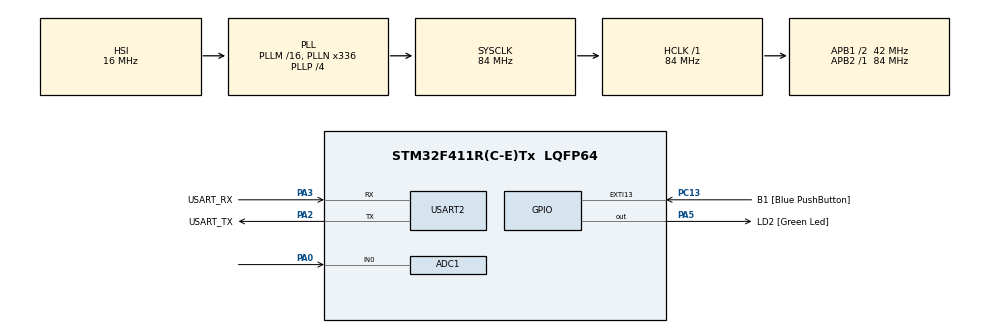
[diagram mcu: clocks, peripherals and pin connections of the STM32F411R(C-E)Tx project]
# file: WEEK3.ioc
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ADC1.Channel-0\#ChannelRegularConversion=ADC_CHANNEL_TEMPSENSOR
ADC1.NbrOfConversionFlag=1
ADC1.Rank-0\#ChannelRegularConversion=1
ADC1.SamplingTime-0\#ChannelRegularConversion=ADC_SAMPLETIME_3CYCLES
ADC1.master=1
Mcu.Family=STM32F4
Mcu.Name=STM32F411R(C-E)Tx
Mcu.Package=LQFP64
NVIC.PriorityGroup=NVIC_PRIORITYGROUP_0
PA0-WKUP.Signal=ADCx_IN0
PA13.GPIO_Label=TMS
PA13.Mode=Serial_Wire
PA13.Signal=SYS_JTMS-SWDIO
PA14.GPIO_Label=TCK
PA14.Mode=Serial_Wire
PA14.Signal=SYS_JTCK-SWCLK
PA2.GPIO_Label=USART_TX
PA2.Mode=Asynchronous
PA2.Signal=USART2_TX
PA3.GPIO_Label=USART_RX
PA3.Mode=Asynchronous
PA3.Signal=USART2_RX
PA5.GPIO_Label=LD2 [Green Led]
PA5.Signal=GPIO_Output
PB3.GPIO_Label=SWO
PB3.Signal=SYS_JTDO-SWO
PC13-ANTI_TAMP.GPIO_Label=B1 [Blue PushButton]
PC13-ANTI_TAMP.GPIO_ModeDefaultEXTI=GPIO_MODE_IT_FALLING
PC13-ANTI_TAMP.Signal=GPXTI13
PC14-OSC32_IN.Mode=LSE-External-Oscillator
PC14-OSC32_IN.Signal=RCC_OSC32_IN
PC15-OSC32_OUT.Mode=LSE-External-Oscillator
PC15-OSC32_OUT.Signal=RCC_OSC32_OUT
PH0\ -\ OSC_IN.Mode=HSE-External-Clock-Source
PH0\ -\ OSC_IN.Signal=RCC_OSC_IN
PH1\ -\ OSC_OUT.Mode=HSE-External-Clock-Source
PH1\ -\ OSC_OUT.Signal=RCC_OSC_OUT
ProjectManager.HeapSize=0x200
ProjectManager.StackSize=0x400
ProjectManager.TargetToolchain=STM32CubeIDE
RCC.48MHZClocksFreq_Value=84000000
RCC.AHBFreq_Value=84000000
RCC.APB1CLKDivider=RCC_HCLK_DIV2
RCC.APB1Freq_Value=42000000
RCC.APB1TimFreq_Value=84000000
RCC.APB2Freq_Value=84000000
RCC.APB2TimFreq_Value=84000000
RCC.CortexFreq_Value=84000000
RCC.FLatency-AdvancedSettings=FLASH_LATENCY_2
RCC.HCLKFreq_Value=84000000
RCC.HSE_VALUE=8000000
RCC.HSI_VALUE=16000000
RCC.PLLN=336
RCC.PLLP=RCC_PLLP_DIV4
RCC.SYSCLKFreq_VALUE=84000000
RCC.SYSCLKSource=RCC_SYSCLKSOURCE_PLLCLK
RCC.VCOOutputFreq_Value=336000000
SH.ADCx_IN0.0=ADC1_IN0,IN0
USART2.VirtualMode=VM_ASYNC
VP_ADC1_TempSens_Input.Mode=IN-TempSens
board=NUCLEO-F411RE

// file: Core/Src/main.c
/* USER CODE BEGIN Header */
/**
 ******************************************************************************
 * @file           : main.c
 * @brief          : Main program body
 ******************************************************************************
 * @attention
 *
 * <h2><center>&copy; Copyright (c) 2021 STMicroelectronics.
 * All rights reserved.</center></h2>
 *
 * This software component is licensed by ST under BSD 3-Clause license,
 * the "License"; You may not use this file except in compliance with the
 * License. You may obtain a copy of the License at:
 *                        opensource.org/licenses/BSD-3-Clause
 *
 ******************************************************************************
 */
/* USER CODE END Header */
#include "main.h"

ADC_HandleTypeDef hadc1;

UART_HandleTypeDef huart2;

/* USER CODE BEGIN PV */

typedef struct {
	ADC_ChannelConfTypeDef Config;
	uint16_t data;
} ADCStructure;

ADCStructure ADCChannel[2] = { 0 };
int ADCMode = 0;
float ADCOutputConverted = 0;

/* USER CODE END PV */

void SystemClock_Config(void);
static void MX_GPIO_Init(void);
static void MX_USART2_UART_Init(void);
static void MX_ADC1_Init(void);
/* USER CODE BEGIN PFP */
void ADCPollingMethodInit();
void ADCPollingMethodUpdate();
/* USER CODE END PFP */

int main(void) {

	/* MCU Configuration--------------------------------------------------------*/

	/* Reset of all peripherals, Initializes the Flash interface and the Systick. */
	HAL_Init();

	/* Configure the system clock */
	SystemClock_Config();

	/* Initialize all configured peripherals */
	MX_GPIO_Init();
	MX_USART2_UART_Init();
	MX_ADC1_Init();
	/* USER CODE BEGIN 2 */
	uint8_t Button_Press[2] = {0};
	ADCPollingMethodInit();

	/* USER CODE END 2 */

	/* Infinite loop */
	/* USER CODE BEGIN WHILE */
	while (1) {
		Button_Press[0] = HAL_GPIO_ReadPin(GPIOC, GPIO_PIN_13);
		if(Button_Press[1] == GPIO_PIN_SET && Button_Press[0] == GPIO_PIN_RESET)
		{
			if(ADCMode == 0)
			{
				ADCMode = 1;
			}
			else
			{
				ADCMode = 0;
			}
		}
		if(ADCMode == 0)
		{
			ADCOutputConverted = ADCChannel[0].data*3300/4096;
		}
		else
		{
			ADCOutputConverted = (((ADCChannel[1].data*3300/4096)-760)/2.5) + 25;
		}
		Button_Press[1] = Button_Press[0];
		/* USER CODE END WHILE */

		/* USER CODE BEGIN 3 */

		ADCPollingMethodUpdate();

	}
	/* USER CODE END 3 */
}

void SystemClock_Config(void) {
	RCC_OscInitTypeDef RCC_OscInitStruct = { 0 };
	RCC_ClkInitTypeDef RCC_ClkInitStruct = { 0 };

	/** Configure the main internal regulator output voltage
	 */
	__HAL_RCC_PWR_CLK_ENABLE();
	__HAL_PWR_VOLTAGESCALING_CONFIG(PWR_REGULATOR_VOLTAGE_SCALE1);
	/** Initializes the RCC Oscillators according to the specified parameters
	 * in the RCC_OscInitTypeDef structure.
	 */
	RCC_OscInitStruct.OscillatorType = RCC_OSCILLATORTYPE_HSI;
	RCC_OscInitStruct.HSIState = RCC_HSI_ON;
	RCC_OscInitStruct.HSICalibrationValue = RCC_HSICALIBRATION_DEFAULT;
	RCC_OscInitStruct.PLL.PLLState = RCC_PLL_ON;
	RCC_OscInitStruct.PLL.PLLSource = RCC_PLLSOURCE_HSI;
	RCC_OscInitStruct.PLL.PLLM = 16;
	RCC_OscInitStruct.PLL.PLLN = 336;
	RCC_OscInitStruct.PLL.PLLP = RCC_PLLP_DIV4;
	RCC_OscInitStruct.PLL.PLLQ = 4;
	if (HAL_RCC_OscConfig(&RCC_OscInitStruct) != HAL_OK) {
		Error_Handler();
	}
	/** Initializes the CPU, AHB and APB buses clocks
	 */
	RCC_ClkInitStruct.ClockType = RCC_CLOCKTYPE_HCLK | RCC_CLOCKTYPE_SYSCLK
			| RCC_CLOCKTYPE_PCLK1 | RCC_CLOCKTYPE_PCLK2;
	RCC_ClkInitStruct.SYSCLKSource = RCC_SYSCLKSOURCE_PLLCLK;
	RCC_ClkInitStruct.AHBCLKDivider = RCC_SYSCLK_DIV1;
	RCC_ClkInitStruct.APB1CLKDivider = RCC_HCLK_DIV2;
	RCC_ClkInitStruct.APB2CLKDivider = RCC_HCLK_DIV1;

	if (HAL_RCC_ClockConfig(&RCC_ClkInitStruct, FLASH_LATENCY_2) != HAL_OK) {
		Error_Handler();
	}
}

static void MX_ADC1_Init(void) {

	ADC_ChannelConfTypeDef sConfig = { 0 };

	/** Configure the global features of the ADC (Clock, Resolution, Data Alignment and number of conversion)
	 */
	hadc1.Instance = ADC1;
	hadc1.Init.ClockPrescaler = ADC_CLOCK_SYNC_PCLK_DIV4;
	hadc1.Init.Resolution = ADC_RESOLUTION_12B;
	hadc1.Init.ScanConvMode = DISABLE;
	hadc1.Init.ContinuousConvMode = DISABLE;
	hadc1.Init.DiscontinuousConvMode = DISABLE;
	hadc1.Init.ExternalTrigConvEdge = ADC_EXTERNALTRIGCONVEDGE_NONE;
	hadc1.Init.ExternalTrigConv = ADC_SOFTWARE_START;
	hadc1.Init.DataAlign = ADC_DATAALIGN_RIGHT;
	hadc1.Init.NbrOfConversion = 1;
	hadc1.Init.DMAContinuousRequests = DISABLE;
	hadc1.Init.EOCSelection = ADC_EOC_SINGLE_CONV;
	if (HAL_ADC_Init(&hadc1) != HAL_OK) {
		Error_Handler();
	}
	/** Configure for the selected ADC regular channel its corresponding rank in the sequencer and its sample time.
	 */
	sConfig.Channel = ADC_CHANNEL_0;
	sConfig.Rank = 1;
	sConfig.SamplingTime = ADC_SAMPLETIME_3CYCLES;
	if (HAL_ADC_ConfigChannel(&hadc1, &sConfig) != HAL_OK) {
		Error_Handler();
	}

}

static void MX_USART2_UART_Init(void) {

	huart2.Instance = USART2;
	huart2.Init.BaudRate = 115200;
	huart2.Init.WordLength = UART_WORDLENGTH_8B;
	huart2.Init.StopBits = UART_STOPBITS_1;
	huart2.Init.Parity = UART_PARITY_NONE;
	huart2.Init.Mode = UART_MODE_TX_RX;
	huart2.Init.HwFlowCtl = UART_HWCONTROL_NONE;
	huart2.Init.OverSampling = UART_OVERSAMPLING_16;
	if (HAL_UART_Init(&huart2) != HAL_OK) {
		Error_Handler();
	}

}

static void MX_GPIO_Init(void) {
	GPIO_InitTypeDef GPIO_InitStruct = { 0 };

	/* GPIO Ports Clock Enable */
	__HAL_RCC_GPIOC_CLK_ENABLE();
	__HAL_RCC_GPIOH_CLK_ENABLE();
	__HAL_RCC_GPIOA_CLK_ENABLE();
	__HAL_RCC_GPIOB_CLK_ENABLE();

	/*Configure GPIO pin Output Level */
	HAL_GPIO_WritePin(LD2_GPIO_Port, LD2_Pin, GPIO_PIN_RESET);

	/*Configure GPIO pin : B1_Pin */
	GPIO_InitStruct.Pin = B1_Pin;
	GPIO_InitStruct.Mode = GPIO_MODE_IT_FALLING;
	GPIO_InitStruct.Pull = GPIO_NOPULL;
	HAL_GPIO_Init(B1_GPIO_Port, &GPIO_InitStruct);

	/*Configure GPIO pin : LD2_Pin */
	GPIO_InitStruct.Pin = LD2_Pin;
	GPIO_InitStruct.Mode = GPIO_MODE_OUTPUT_PP;
	GPIO_InitStruct.Pull = GPIO_NOPULL;
	GPIO_InitStruct.Speed = GPIO_SPEED_FREQ_LOW;
	HAL_GPIO_Init(LD2_GPIO_Port, &GPIO_InitStruct);

}

/* USER CODE BEGIN 4 */
void ADCPollingMethodInit() {
	//config all ADC Channel
	ADCChannel[0].Config.Channel = ADC_CHANNEL_0;
	ADCChannel[0].Config.Rank = 1;
	ADCChannel[0].Config.SamplingTime = ADC_SAMPLETIME_3CYCLES;

	ADCChannel[1].Config.Channel = ADC_CHANNEL_TEMPSENSOR;
	ADCChannel[1].Config.Rank = 1;
	ADCChannel[1].Config.SamplingTime = ADC_SAMPLETIME_3CYCLES;
}
//Polling Method
void ADCPollingMethodUpdate() {
	//Read all 3 Channel
	for (int i = 0; i < 3; i++) {
		HAL_ADC_ConfigChannel(&hadc1, &ADCChannel[i].Config);
		HAL_ADC_Start(&hadc1);
		HAL_ADC_PollForConversion(&hadc1, 10);
		ADCChannel[i].data = HAL_ADC_GetValue(&hadc1);
		HAL_ADC_Stop(&hadc1);
	}
}
/* USER CODE END 4 */

void Error_Handler(void) {
	__disable_irq();
	while (1) {
	}
}

/************************ (C) COPYRIGHT STMicroelectronics *****END OF FILE****/
